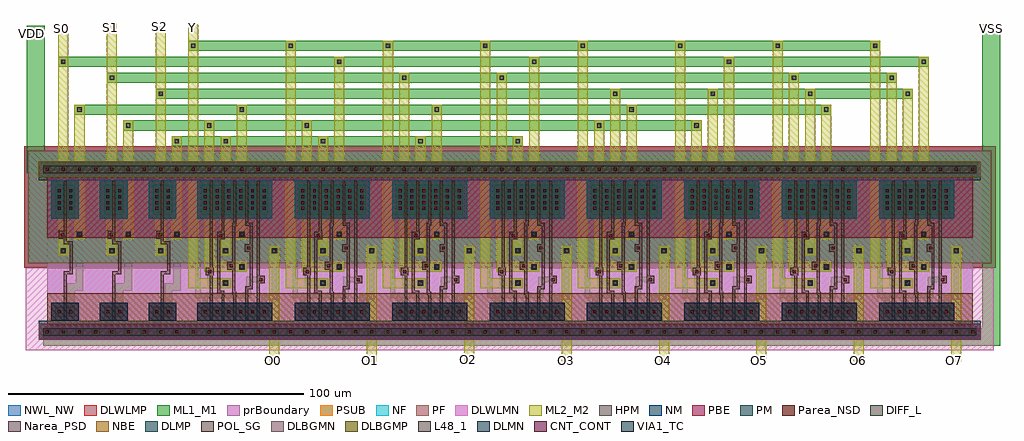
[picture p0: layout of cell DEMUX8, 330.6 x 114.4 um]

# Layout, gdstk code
import gdstk
lib = gdstk.Library(unit=1e-6, precision=1e-07)
def R(c, l, rs):  # rectangles x0, y0, x1, y1
    for r in rs: c.add(gdstk.rectangle(r[:2], r[2:], *l))
def A(c, l, x, y, w, h, nx, ny, dx, dy):  # array of equal rectangles
    R(c, l, [(x+i*dx, y+j*dy, x+i*dx+w, y+j*dy+h) for i in range(nx) for j in range(ny)])
def P(c, l, *ps):  # polygons
    for p in ps: c.add(gdstk.Polygon(p, *l))
DIFF_L = (3, 0)
NM = (7, 0)
POL_SG = (8, 0)
Narea_PSD = (9, 0)
CNT_CONT = (11, 0)
ML1_M1 = (13, 0)
VIA1_TC = (19, 0)
ML2_M2 = (20, 0)
NF = (25, 0)
PF = (26, 0)
Parea_NSD = (28, 0)
HPM = (33, 0)
PM = (35, 0)
NWL_NW = (36, 0)
L48_1 = (48, 1)
PSUB = (140, 0)
PBE = (146, 0)
NBE = (147, 0)
DLWLMP = (150, 0)
DLWLMN = (151, 0)
DLMP = (157, 0)
DLMN = (158, 0)
DLBGMP = (177, 0)
DLBGMN = (178, 0)
prBoundary = (235, 0)

and4_x1_1 = lib.new_cell('AND4_X1$1')
A(and4_x1_1, DIFF_L, -1.3, -1.3, 2.6, 2.6, 7, 2, 5.5, 55)
R(and4_x1_1, DIFF_L, [(2.8,5.1,25.4,8.5), (2.8,39.7,25.4,49.9)])
R(and4_x1_1, NM, [(-2.8,-2.7,35.8,2.7)])
P(and4_x1_1, NM, [(1.4,38.3),(1.4,51.3),(-2.8,51.3),(-2.8,57.7),(35.8,57.7),(35.8,51.3),(26.8,51.3),(26.8,38.3)])
P(and4_x1_1, POL_SG, [(5.6,3.9),(5.6,19.1),(4.3,19.1),(4.3,21.7),(5.6,21.7),(5.6,51.1),(6.6,51.1),(6.6,21.7),(6.9,21.7),(6.9,19.1),(6.6,19.1),(6.6,3.9)],
  [(9.6,3.9),(9.6,13),(8.1,13),(8.1,33.9),(9.6,33.9),(9.6,51.1),(10.6,51.1),(10.6,33.9),(10.7,33.9),(10.7,31.3),(9.1,31.3),(9.1,14),(10.6,14),(10.6,3.9)],
  [(13.6,3.9),(13.6,12.5),(13.2,12.5),(13.2,21.1),(11.6,21.1),(11.6,23.7),(13.2,23.7),(13.2,37),(13.6,37),(13.6,51.1),(14.6,51.1),(14.6,36),(14.2,36),(14.2,13.5),(14.6,13.5),(14.6,3.9)],
  [(17.6,3.9),(17.6,15.4),(19.1,15.4),(19.1,27.1),(17.5,27.1),(17.5,29.7),(19.1,29.7),(19.1,35.9),(17.6,35.9),(17.6,51.1),(18.6,51.1),(18.6,36.9),(20.1,36.9),(20.1,14.4),(18.6,14.4),(18.6,3.9)],
  [(21.6,3.9),(21.6,51.1),(22.6,51.1),(22.6,19),(24.2,19),(24.2,16.4),(22.6,16.4),(22.6,3.9)])
R(and4_x1_1, Narea_PSD, [(1.4,3.7,26.8,9.9), (-2.8,52.3,35.8,57.7)])
A(and4_x1_1, CNT_CONT, -0.5, -0.5, 1, 1, 7, 2, 5.5, 55)
A(and4_x1_1, CNT_CONT, 3.6, 41.3, 1, 1, 1, 4, 0, 2)
A(and4_x1_1, CNT_CONT, 23.6, 41.3, 1, 1, 1, 4, 0, 2)
R(and4_x1_1, CNT_CONT, [(3.6,6.3,4.6,7.3), (7.6,6.3,8.6,7.3), (7.6,6.3,8.6,7.3), (11.6,6.3,12.6,7.3), (11.6,6.3,12.6,7.3), (15.6,6.3,16.6,7.3), (15.6,6.3,16.6,7.3), (19.6,6.3,20.6,7.3), (19.6,6.3,20.6,7.3), (23.6,6.3,24.6,7.3), (22.4,17.2,23.4,18.2), (5.1,19.9,6.1,20.9), (12.4,21.9,13.4,22.9), (18.3,27.9,19.3,28.9), (8.9,32.1,9.9,33.1), (7.6,41.3,8.6,42.3), (7.6,41.3,8.6,42.3), (11.6,41.3,12.6,42.3), (11.6,41.3,12.6,42.3), (15.6,41.3,16.6,42.3), (15.6,41.3,16.6,42.3), (19.6,41.3,20.6,42.3), (19.6,41.3,20.6,42.3), (7.6,43.3,8.6,44.3), (7.6,43.3,8.6,44.3), (11.6,43.3,12.6,44.3), (11.6,43.3,12.6,44.3), (15.6,43.3,16.6,44.3), (15.6,43.3,16.6,44.3), (19.6,43.3,20.6,44.3), (19.6,43.3,20.6,44.3), (7.6,45.3,8.6,46.3), (7.6,45.3,8.6,46.3), (11.6,45.3,12.6,46.3), (11.6,45.3,12.6,46.3), (15.6,45.3,16.6,46.3), (15.6,45.3,16.6,46.3), (19.6,45.3,20.6,46.3), (19.6,45.3,20.6,46.3), (7.6,47.3,8.6,48.3), (7.6,47.3,8.6,48.3), (11.6,47.3,12.6,48.3), (11.6,47.3,12.6,48.3), (15.6,47.3,16.6,48.3), (15.6,47.3,16.6,48.3), (19.6,47.3,20.6,48.3), (19.6,47.3,20.6,48.3)])
A(and4_x1_1, ML1_M1, 6.8, 5.1, 2.6, 3.4, 3, 1, 4, 0)
P(and4_x1_1, ML1_M1, [(-1.3,-1.3),(-1.3,1.3),(18.8,1.3),(18.8,8.5),(21.4,8.5),(21.4,1.3),(34.3,1.3),(34.3,-1.3)],
  [(9.3,14.8),(9.3,15.6),(4.8,15.6),(4.8,19.1),(4.3,19.1),(4.3,21.7),(6.9,21.7),(6.9,19.1),(6.6,19.1),(6.6,17.4),(9.3,17.4),(9.3,18.2),(12.7,18.2),(12.7,14.8)],
  [(14.8,20.3),(14.8,21.1),(11.6,21.1),(11.6,23.7),(18.2,23.7),(18.2,20.3)],
  [(9.3,25.8),(9.3,31.3),(8.1,31.3),(8.1,33.9),(11.1,33.9),(11.1,29.2),(12.7,29.2),(12.7,25.8)],
  [(16.4,27.1),(16.4,31.3),(14.8,31.3),(14.8,34.7),(18.2,34.7),(18.2,29.7),(20.1,29.7),(20.1,27.1)],
  [(2.8,5.1),(2.8,8.5),(3.2,8.5),(3.2,11.4),(0.7,11.4),(0.7,38),(7.2,38),(7.2,39.7),(6.8,39.7),(6.8,49.9),(9.4,49.9),(9.4,39.7),(9,39.7),(9,38),(15.2,38),(15.2,39.7),(14.8,39.7),(14.8,49.9),(17.4,49.9),(17.4,39.7),(17,39.7),(17,36.2),(2.5,36.2),(2.5,13.2),(17.9,13.2),(17.9,18.6),(21.6,18.6),(21.6,19),(24.2,19),(24.2,16.4),(21.6,16.4),(21.6,16.8),(19.7,16.8),(19.7,11.4),(5,11.4),(5,8.5),(5.4,8.5),(5.4,5.1)],
  [(22.8,5.1),(22.8,8.5),(23.2,8.5),(23.2,12.6),(26.6,12.6),(26.6,25.8),(25.8,25.8),(25.8,29.2),(26.6,29.2),(26.6,36.2),(23.2,36.2),(23.2,39.7),(22.8,39.7),(22.8,49.9),(25.4,49.9),(25.4,39.7),(25,39.7),(25,38),(28.4,38),(28.4,29.2),(29.2,29.2),(29.2,25.8),(28.4,25.8),(28.4,10.8),(25,10.8),(25,8.5),(25.4,8.5),(25.4,5.1)],
  [(2.8,39.7),(2.8,53.7),(-1.3,53.7),(-1.3,56.3),(34.3,56.3),(34.3,53.7),(21.4,53.7),(21.4,39.7),(18.8,39.7),(18.8,53.7),(13.4,53.7),(13.4,39.7),(10.8,39.7),(10.8,53.7),(5.4,53.7),(5.4,39.7)])
R(and4_x1_1, NF, [(-6.3,23.2,39.3,61.3)])
R(and4_x1_1, PF, [(-6.3,23.2,39.3,61.3)])
R(and4_x1_1, Parea_NSD, [(-2.8,-2.7,35.8,2.7), (1.4,38.3,26.8,51.3)])
P(and4_x1_1, HPM, [(-2.8,-2.7),(-2.8,3.7),(1.4,3.7),(1.4,9.9),(26.8,9.9),(26.8,3.7),(35.8,3.7),(35.8,-2.7)],
  [(1.4,38.3),(1.4,51.3),(-2.8,51.3),(-2.8,57.7),(35.8,57.7),(35.8,51.3),(26.8,51.3),(26.8,38.3)])
R(and4_x1_1, PM, [(-2.8,52.3,35.8,57.7)])
P(and4_x1_1, PM, [(-2.8,-2.7),(-2.8,3.7),(1.4,3.7),(1.4,9.9),(26.8,9.9),(26.8,3.7),(35.8,3.7),(35.8,-2.7)])
R(and4_x1_1, NWL_NW, [(-7.8,21.7,40.8,62.8)])
R(and4_x1_1, L48_1, [(-1.3,-1.3,34.3,1.3), (10.1,15.6,11.9,17.4), (15.6,21.1,17.4,22.9), (10.1,26.6,11.9,28.4), (26.6,26.6,28.4,28.4), (15.6,32.1,17.4,33.9), (-1.3,53.7,34.3,56.3)])
R(and4_x1_1, PSUB, [(-6.3,23.2,39.3,61.3)])
R(and4_x1_1, PBE, [(0,31.9,33,52.7)])
R(and4_x1_1, NBE, [(0,2.3,33,13.1)])
R(and4_x1_1, DLWLMP, [(-7.8,21.7,40.8,62.8)])
R(and4_x1_1, DLWLMN, [(-7.2,-6.3,40.2,21.7)])
R(and4_x1_1, DLMP, [(1.4,38.3,26.8,51.3)])
R(and4_x1_1, DLMN, [(1.4,3.7,26.8,9.9)])
R(and4_x1_1, DLBGMP, [(-2.8,52.3,35.8,57.7)])
R(and4_x1_1, DLBGMN, [(-2.8,-2.7,35.8,2.7)])
R(and4_x1_1, prBoundary, [(0,0,33,55)])
and4_x1_1.add(gdstk.Label('vdd', (0,55), layer=48, texttype=0))
and4_x1_1.add(gdstk.Label('gnd', (0,0), layer=48, texttype=0))
and4_x1_1.add(gdstk.Label('Y', (27.5,27.5), layer=48, texttype=0))
and4_x1_1.add(gdstk.Label('A', (11,16.5), layer=48, texttype=0))
and4_x1_1.add(gdstk.Label('B', (11,27.5), layer=48, texttype=0))
and4_x1_1.add(gdstk.Label('C', (16.5,22), layer=48, texttype=0))
and4_x1_1.add(gdstk.Label('D', (16.5,33), layer=48, texttype=0))

via = lib.new_cell('Via')
R(via, ML1_M1, [(-1.7,-1.7,1.7,1.7)])
R(via, VIA1_TC, [(-0.7,-0.7,0.7,0.7)])
R(via, ML2_M2, [(-1.7,-1.7,1.7,1.7)])

inv_x1_1 = lib.new_cell('INV_X1$1')
A(inv_x1_1, DIFF_L, -1.3, -1.3, 2.6, 2.6, 4, 2, 5.5, 55)
R(inv_x1_1, DIFF_L, [(2.8,5.1,9.4,8.5), (2.8,39.7,9.4,49.9)])
R(inv_x1_1, NM, [(-2.8,-2.7,19.3,2.7)])
P(inv_x1_1, NM, [(1.4,38.3),(1.4,51.3),(-2.8,51.3),(-2.8,57.7),(19.3,57.7),(19.3,51.3),(10.8,51.3),(10.8,38.3)])
P(inv_x1_1, POL_SG, [(5.6,3.9),(5.6,20.5),(7.7,20.5),(7.7,29.7),(5.6,29.7),(5.6,31.6),(4,31.6),(4,34.2),(5.6,34.2),(5.6,51.1),(6.6,51.1),(6.6,30.7),(8.7,30.7),(8.7,19.5),(6.6,19.5),(6.6,3.9)])
R(inv_x1_1, Narea_PSD, [(1.4,3.7,10.8,9.9), (-2.8,52.3,19.3,57.7)])
A(inv_x1_1, CNT_CONT, -0.5, -0.5, 1, 1, 4, 2, 5.5, 55)
A(inv_x1_1, CNT_CONT, 3.6, 41.3, 1, 1, 1, 4, 0, 2)
A(inv_x1_1, CNT_CONT, 7.6, 41.3, 1, 1, 1, 4, 0, 2)
R(inv_x1_1, CNT_CONT, [(3.6,6.3,4.6,7.3), (7.6,6.3,8.6,7.3), (4.8,32.4,5.8,33.4)])
P(inv_x1_1, ML1_M1, [(-1.3,-1.3),(-1.3,1.3),(2.8,1.3),(2.8,8.5),(5.4,8.5),(5.4,1.3),(17.8,1.3),(17.8,-1.3)],
  [(3.8,25.8),(3.8,29.2),(4,29.2),(4,34.2),(6.6,34.2),(6.6,29.2),(7.2,29.2),(7.2,25.8)],
  [(6.8,5.1),(6.8,16.5),(9.7,16.5),(9.7,31.3),(9.3,31.3),(9.3,35.6),(6.8,35.6),(6.8,49.9),(9.4,49.9),(9.4,38.2),(12.3,38.2),(12.3,34.7),(12.7,34.7),(12.7,31.3),(12.3,31.3),(12.3,13.9),(9.4,13.9),(9.4,5.1)],
  [(2.8,39.7),(2.8,53.7),(-1.3,53.7),(-1.3,56.3),(17.8,56.3),(17.8,53.7),(5.4,53.7),(5.4,39.7)])
R(inv_x1_1, NF, [(-6.3,23.2,22.8,61.3)])
R(inv_x1_1, PF, [(-6.3,23.2,22.8,61.3)])
R(inv_x1_1, Parea_NSD, [(-2.8,-2.7,19.3,2.7), (1.4,38.3,10.8,51.3)])
P(inv_x1_1, HPM, [(-2.8,-2.7),(-2.8,3.7),(1.4,3.7),(1.4,9.9),(10.8,9.9),(10.8,3.7),(19.3,3.7),(19.3,-2.7)],
  [(1.4,38.3),(1.4,51.3),(-2.8,51.3),(-2.8,57.7),(19.3,57.7),(19.3,51.3),(10.8,51.3),(10.8,38.3)])
R(inv_x1_1, PM, [(-2.8,52.3,19.3,57.7)])
P(inv_x1_1, PM, [(-2.8,-2.7),(-2.8,3.7),(1.4,3.7),(1.4,9.9),(10.8,9.9),(10.8,3.7),(19.3,3.7),(19.3,-2.7)])
R(inv_x1_1, NWL_NW, [(-7.8,21.7,24.3,62.8)])
R(inv_x1_1, L48_1, [(-1.3,-1.3,17.8,1.3), (4.6,26.6,6.4,28.4), (10.1,32.1,11.9,33.9), (-1.3,53.7,17.8,56.3)])
R(inv_x1_1, PSUB, [(-6.3,23.2,22.8,61.3)])
R(inv_x1_1, PBE, [(0,31.9,16.5,52.7)])
R(inv_x1_1, NBE, [(0,2.3,16.5,13.1)])
R(inv_x1_1, DLWLMP, [(-7.8,21.7,24.3,62.8)])
R(inv_x1_1, DLWLMN, [(-7.2,-6.3,23.7,21.7)])
R(inv_x1_1, DLMP, [(1.4,38.3,10.8,51.3)])
R(inv_x1_1, DLMN, [(1.4,3.7,10.8,9.9)])
R(inv_x1_1, DLBGMP, [(-2.8,52.3,19.3,57.7)])
R(inv_x1_1, DLBGMN, [(-2.8,-2.7,19.3,2.7)])
R(inv_x1_1, prBoundary, [(0,0,16.5,55)])
inv_x1_1.add(gdstk.Label('A', (5.5,27.5), layer=48, texttype=0))
inv_x1_1.add(gdstk.Label('vdd', (0,55), layer=48, texttype=0))
inv_x1_1.add(gdstk.Label('gnd', (0,0), layer=48, texttype=0))
inv_x1_1.add(gdstk.Label('Y', (11,33), layer=48, texttype=0))

demux8 = lib.new_cell('DEMUX8')
demux8.add(gdstk.FlexPath([(25.9,69.9),(221.7,69.9)], 3.4, ends="flush", simple_path=True, layer=13, datatype=0))  # ML1_M1
demux8.add(gdstk.FlexPath([(20.3,86.1),(287.8,86.1)], 3.4, ends="flush", simple_path=True, layer=13, datatype=0))  # ML1_M1
demux8.add(gdstk.FlexPath([(36.9,80.7),(293.2,80.7)], 3.4, ends="flush", simple_path=True, layer=13, datatype=0))  # ML1_M1
demux8.add(gdstk.FlexPath([(161.2,64.5),(42.3,64.5)], 3.4, ends="flush", simple_path=True, layer=13, datatype=0))  # ML1_M1
demux8.add(gdstk.FlexPath([(47.8,96.9),(282.2,96.9)], 3.4, ends="flush", simple_path=True, layer=13, datatype=0))  # ML1_M1
demux8.add(gdstk.FlexPath([(319.8,104.1),(319.8,-4.7)], 6, ends="flush", simple_path=True, layer=13, datatype=0))  # ML1_M1
demux8.add(gdstk.FlexPath([(9.3,75.3),(265.7,75.3)], 3.4, ends="flush", simple_path=True, layer=13, datatype=0))  # ML1_M1
demux8.add(gdstk.FlexPath([(3.8,91.5),(298.7,91.5)], 3.4, ends="flush", simple_path=True, layer=13, datatype=0))  # ML1_M1
demux8.add(gdstk.FlexPath([(-1.3,56.7),(314.8,56.7)], 6, ends="flush", simple_path=True, layer=13, datatype=0))  # ML1_M1
demux8.add(gdstk.FlexPath([(322.7,-1.7),(-1.3,-1.7)], 6, ends="flush", simple_path=True, layer=13, datatype=0))  # ML1_M1
demux8.add(gdstk.FlexPath([(-3.8,103.7),(-3.8,53.7)], 6, ends="flush", simple_path=True, layer=13, datatype=0))  # ML1_M1
demux8.add(gdstk.FlexPath([(22,25.8),(22,104.4)], 3.4, ends="flush", simple_path=True, layer=20, datatype=0))  # ML2_M2
demux8.add(gdstk.FlexPath([(27.5,31.3),(27.5,71.6)], 3.4, ends="flush", simple_path=True, layer=20, datatype=0))  # ML2_M2
demux8.add(gdstk.FlexPath([(38.5,25.8),(38.5,104.4)], 3.4, ends="flush", simple_path=True, layer=20, datatype=0))  # ML2_M2
demux8.add(gdstk.FlexPath([(44,31.3),(44,66.2)], 3.4, ends="flush", simple_path=True, layer=20, datatype=0))  # ML2_M2
demux8.add(gdstk.FlexPath([(62.2,16.5),(49.5,16.5),(49.5,104.1)], 3.4, ends="flush", simple_path=True, layer=20, datatype=0))  # ML2_M2
demux8.add(gdstk.FlexPath([(77,29.2),(77,-10)], 3.4, ends="flush", simple_path=True, layer=20, datatype=0))  # ML2_M2
demux8.add(gdstk.FlexPath([(66,31.3),(66,77)], 3.4, ends="flush", simple_path=True, layer=20, datatype=0))  # ML2_M2
demux8.add(gdstk.FlexPath([(67.7,22),(55,22),(55,71.6)], 3.4, ends="flush", simple_path=True, layer=20, datatype=0))  # ML2_M2
demux8.add(gdstk.FlexPath([(60.5,25.8),(60.5,66.2)], 3.4, ends="flush", simple_path=True, layer=20, datatype=0))  # ML2_M2
demux8.add(gdstk.FlexPath([(95.2,16.5),(82.5,16.5),(82.5,98.6)], 3.4, ends="flush", simple_path=True, layer=20, datatype=0))  # ML2_M2
demux8.add(gdstk.FlexPath([(110,29.2),(110,-10)], 3.4, ends="flush", simple_path=True, layer=20, datatype=0))  # ML2_M2
demux8.add(gdstk.FlexPath([(100.7,22),(88,22),(88,71.6)], 3.4, ends="flush", simple_path=True, layer=20, datatype=0))  # ML2_M2
demux8.add(gdstk.FlexPath([(93.5,25.8),(93.5,66.2)], 3.4, ends="flush", simple_path=True, layer=20, datatype=0))  # ML2_M2
demux8.add(gdstk.FlexPath([(99,31.3),(99,93.2)], 3.4, ends="flush", simple_path=True, layer=20, datatype=0))  # ML2_M2
demux8.add(gdstk.FlexPath([(128.2,16.5),(115.5,16.5),(115.5,98.6)], 3.4, ends="flush", simple_path=True, layer=20, datatype=0))  # ML2_M2
demux8.add(gdstk.FlexPath([(143,29.2),(143,-10)], 3.4, ends="flush", simple_path=True, layer=20, datatype=0))  # ML2_M2
demux8.add(gdstk.FlexPath([(133.7,22),(121,22),(121,87.8)], 3.4, ends="flush", simple_path=True, layer=20, datatype=0))  # ML2_M2
demux8.add(gdstk.FlexPath([(126.5,25.8),(126.5,66.2)], 3.4, ends="flush", simple_path=True, layer=20, datatype=0))  # ML2_M2
demux8.add(gdstk.FlexPath([(132,31.3),(132,77)], 3.4, ends="flush", simple_path=True, layer=20, datatype=0))  # ML2_M2
demux8.add(gdstk.FlexPath([(161.2,16.5),(148.5,16.5),(148.5,98.6)], 3.4, ends="flush", simple_path=True, layer=20, datatype=0))  # ML2_M2
demux8.add(gdstk.FlexPath([(176,29.2),(176,-10)], 3.4, ends="flush", simple_path=True, layer=20, datatype=0))  # ML2_M2
demux8.add(gdstk.FlexPath([(166.7,22),(154,22),(154,87.8)], 3.4, ends="flush", simple_path=True, layer=20, datatype=0))  # ML2_M2
demux8.add(gdstk.FlexPath([(159.5,25.8),(159.5,66.2)], 3.4, ends="flush", simple_path=True, layer=20, datatype=0))  # ML2_M2
demux8.add(gdstk.FlexPath([(165,31.3),(165,93.2)], 3.4, ends="flush", simple_path=True, layer=20, datatype=0))  # ML2_M2
demux8.add(gdstk.FlexPath([(199.7,22),(187,22),(187,71.6)], 3.4, ends="flush", simple_path=True, layer=20, datatype=0))  # ML2_M2
demux8.add(gdstk.FlexPath([(192.5,25.8),(192.5,82.4)], 3.4, ends="flush", simple_path=True, layer=20, datatype=0))  # ML2_M2
demux8.add(gdstk.FlexPath([(198,31.3),(198,77)], 3.4, ends="flush", simple_path=True, layer=20, datatype=0))  # ML2_M2
demux8.add(gdstk.FlexPath([(194.2,16.5),(181.5,16.5),(181.5,98.6)], 3.4, ends="flush", simple_path=True, layer=20, datatype=0))  # ML2_M2
demux8.add(gdstk.FlexPath([(209,29.2),(209,-10)], 3.4, ends="flush", simple_path=True, layer=20, datatype=0))  # ML2_M2
demux8.add(gdstk.FlexPath([(232.7,22),(220,22),(220,71.6)], 3.4, ends="flush", simple_path=True, layer=20, datatype=0))  # ML2_M2
demux8.add(gdstk.FlexPath([(225.5,25.8),(225.5,82.4)], 3.4, ends="flush", simple_path=True, layer=20, datatype=0))  # ML2_M2
demux8.add(gdstk.FlexPath([(231,31.3),(231,93.2)], 3.4, ends="flush", simple_path=True, layer=20, datatype=0))  # ML2_M2
demux8.add(gdstk.FlexPath([(227.2,16.5),(214.5,16.5),(214.5,98.6)], 3.4, ends="flush", simple_path=True, layer=20, datatype=0))  # ML2_M2
demux8.add(gdstk.FlexPath([(242,29.2),(242,-10)], 3.4, ends="flush", simple_path=True, layer=20, datatype=0))  # ML2_M2
demux8.add(gdstk.FlexPath([(265.7,22),(253,22),(253,87.8)], 3.4, ends="flush", simple_path=True, layer=20, datatype=0))  # ML2_M2
demux8.add(gdstk.FlexPath([(258.5,25.8),(258.5,82.4)], 3.4, ends="flush", simple_path=True, layer=20, datatype=0))  # ML2_M2
demux8.add(gdstk.FlexPath([(264,31.3),(264,77)], 3.4, ends="flush", simple_path=True, layer=20, datatype=0))  # ML2_M2
demux8.add(gdstk.FlexPath([(260.2,16.5),(247.5,16.5),(247.5,98.6)], 3.4, ends="flush", simple_path=True, layer=20, datatype=0))  # ML2_M2
demux8.add(gdstk.FlexPath([(275,29.2),(275,-10)], 3.4, ends="flush", simple_path=True, layer=20, datatype=0))  # ML2_M2
demux8.add(gdstk.FlexPath([(298.8,22),(286.1,22),(286.1,87.8)], 3.4, ends="flush", simple_path=True, layer=20, datatype=0))  # ML2_M2
demux8.add(gdstk.FlexPath([(291.5,25.8),(291.5,82.4)], 3.4, ends="flush", simple_path=True, layer=20, datatype=0))  # ML2_M2
demux8.add(gdstk.FlexPath([(297,31.3),(297,93.2)], 3.4, ends="flush", simple_path=True, layer=20, datatype=0))  # ML2_M2
demux8.add(gdstk.FlexPath([(293.2,16.5),(280.5,16.5),(280.5,98.6)], 3.4, ends="flush", simple_path=True, layer=20, datatype=0))  # ML2_M2
demux8.add(gdstk.FlexPath([(308,29.2),(308,-10)], 3.4, ends="flush", simple_path=True, layer=20, datatype=0))  # ML2_M2
demux8.add(gdstk.FlexPath([(5.5,25.8),(5.5,103.6)], 3.4, ends="flush", simple_path=True, layer=20, datatype=0))  # ML2_M2
demux8.add(gdstk.FlexPath([(11,31.3),(11,77)], 3.4, ends="flush", simple_path=True, layer=20, datatype=0))  # ML2_M2
demux8.add(gdstk.Reference(and4_x1_1, (148.5,0)))
demux8.add(gdstk.Reference(via, (247.5,96.9)))
demux8.add(gdstk.Reference(and4_x1_1, (247.5,0)))
demux8.add(gdstk.Reference(and4_x1_1, (280.5,0)))
demux8.add(gdstk.Reference(via, (214.5,96.9)))
demux8.add(gdstk.Reference(and4_x1_1, (181.5,0)))
demux8.add(gdstk.Reference(and4_x1_1, (214.5,0)))
demux8.add(gdstk.Reference(via, (192.5,16.5)))
demux8.add(gdstk.Reference(via, (198,22)))
demux8.add(gdstk.Reference(via, (181.5,96.9)))
demux8.add(gdstk.Reference(via, (192.5,27.5)))
demux8.add(gdstk.Reference(via, (198,33)))
demux8.add(gdstk.Reference(via, (209,27.5)))
demux8.add(gdstk.Reference(via, (225.5,27.5)))
demux8.add(gdstk.Reference(via, (231,33)))
demux8.add(gdstk.Reference(via, (242,27.5)))
demux8.add(gdstk.Reference(via, (231,22)))
demux8.add(gdstk.Reference(via, (225.5,16.5)))
demux8.add(gdstk.Reference(via, (258.5,27.5)))
demux8.add(gdstk.Reference(via, (264,33)))
demux8.add(gdstk.Reference(via, (275,27.5)))
demux8.add(gdstk.Reference(via, (264,22)))
demux8.add(gdstk.Reference(via, (258.5,16.5)))
demux8.add(gdstk.Reference(via, (291.5,16.5)))
demux8.add(gdstk.Reference(via, (297,22)))
demux8.add(gdstk.Reference(via, (291.5,27.5)))
demux8.add(gdstk.Reference(via, (297,33)))
demux8.add(gdstk.Reference(via, (308,27.5)))
demux8.add(gdstk.Reference(via, (198,75.3)))
demux8.add(gdstk.Reference(via, (187,69.9)))
demux8.add(gdstk.Reference(via, (192.5,80.7)))
demux8.add(gdstk.Reference(via, (148.5,96.9)))
demux8.add(gdstk.Reference(via, (231,91.5)))
demux8.add(gdstk.Reference(via, (220,69.9)))
demux8.add(gdstk.Reference(via, (225.5,80.7)))
demux8.add(gdstk.Reference(via, (264,75.3)))
demux8.add(gdstk.Reference(via, (258.5,80.7)))
demux8.add(gdstk.Reference(via, (291.5,80.7)))
demux8.add(gdstk.Reference(via, (253,86.1)))
demux8.add(gdstk.Reference(via, (286.1,86.1)))
demux8.add(gdstk.Reference(via, (297,91.5)))
demux8.add(gdstk.Reference(via, (159.5,16.5)))
demux8.add(gdstk.Reference(via, (159.5,27.5)))
demux8.add(gdstk.Reference(via, (165,22)))
demux8.add(gdstk.Reference(via, (165,33)))
demux8.add(gdstk.Reference(via, (176,27.5)))
demux8.add(gdstk.Reference(via, (165,91.5)))
demux8.add(gdstk.Reference(via, (154,86.1)))
demux8.add(gdstk.Reference(via, (159.5,64.5)))
demux8.add(gdstk.Reference(via, (280.5,96.9)))
demux8.add(gdstk.Reference(via, (93.5,16.5)))
demux8.add(gdstk.Reference(via, (99,22)))
demux8.add(gdstk.Reference(via, (93.5,27.5)))
demux8.add(gdstk.Reference(via, (99,33)))
demux8.add(gdstk.Reference(via, (110,27.5)))
demux8.add(gdstk.Reference(via, (126.5,27.5)))
demux8.add(gdstk.Reference(via, (132,33)))
demux8.add(gdstk.Reference(via, (132,22)))
demux8.add(gdstk.Reference(via, (126.5,16.5)))
demux8.add(gdstk.Reference(via, (143,27.5)))
demux8.add(gdstk.Reference(via, (49.5,96.9)))
demux8.add(gdstk.Reference(via, (115.5,96.9)))
demux8.add(gdstk.Reference(via, (82.5,96.9)))
demux8.add(gdstk.Reference(via, (44,33)))
demux8.add(gdstk.Reference(via, (60.5,16.5)))
demux8.add(gdstk.Reference(via, (5.5,91.5)))
demux8.add(gdstk.Reference(via, (11,75.3)))
demux8.add(gdstk.Reference(via, (27.5,69.9)))
demux8.add(gdstk.Reference(via, (44,64.5)))
demux8.add(gdstk.Reference(via, (38.5,80.7)))
demux8.add(gdstk.Reference(via, (22,86.1)))
demux8.add(gdstk.Reference(via, (66,75.3)))
demux8.add(gdstk.Reference(via, (55,69.9)))
demux8.add(gdstk.Reference(via, (60.5,64.5)))
demux8.add(gdstk.Reference(via, (99,91.5)))
demux8.add(gdstk.Reference(via, (88,69.9)))
demux8.add(gdstk.Reference(via, (93.5,64.5)))
demux8.add(gdstk.Reference(via, (132,75.3)))
demux8.add(gdstk.Reference(via, (126.5,64.5)))
demux8.add(gdstk.Reference(via, (121,86.1)))
demux8.add(gdstk.Reference(via, (60.5,27.5)))
demux8.add(gdstk.Reference(via, (66,22)))
demux8.add(gdstk.Reference(via, (66,33)))
demux8.add(gdstk.Reference(inv_x1_1, (16.5,0)))
demux8.add(gdstk.Reference(and4_x1_1, (49.5,0)))
demux8.add(gdstk.Reference(and4_x1_1, (82.5,0)))
demux8.add(gdstk.Reference(and4_x1_1, (115.5,0)))
demux8.add(gdstk.Reference(via, (77,27.5)))
demux8.add(gdstk.Reference(inv_x1_1, (0,0)))
demux8.add(gdstk.Reference(inv_x1_1, (33,0)))
demux8.add(gdstk.Reference(via, (5.5,27.5)))
demux8.add(gdstk.Reference(via, (11,33)))
demux8.add(gdstk.Reference(via, (22,27.5)))
demux8.add(gdstk.Reference(via, (27.5,33)))
demux8.add(gdstk.Reference(via, (38.5,27.5)))
demux8.add(gdstk.Label('VSS', (319.9,102.8), layer=13, texttype=0))
demux8.add(gdstk.Label('VDD', (-5.3,100.9), layer=13, texttype=0))
demux8.add(gdstk.Label('S1', (21.5,103), layer=20, texttype=0))
demux8.add(gdstk.Label('S2', (38.2,103.3), layer=20, texttype=0))
demux8.add(gdstk.Label('Y', (49.2,103.1), layer=20, texttype=0))
demux8.add(gdstk.Label('O0', (76.6,-9.6), layer=20, texttype=0))
demux8.add(gdstk.Label('O1', (109.5,-9.6), layer=20, texttype=0))
demux8.add(gdstk.Label('O2', (142.8,-9.5), layer=20, texttype=0))
demux8.add(gdstk.Label('O3', (175.8,-9.6), layer=20, texttype=0))
demux8.add(gdstk.Label('O4', (208.9,-9.7), layer=20, texttype=0))
demux8.add(gdstk.Label('O5', (241.5,-9.7), layer=20, texttype=0))
demux8.add(gdstk.Label('O6', (274.8,-9.7), layer=20, texttype=0))
demux8.add(gdstk.Label('O7', (307.5,-9.7), layer=20, texttype=0))
demux8.add(gdstk.Label('S0', (4.9,102.7), layer=20, texttype=0))

lib.write_gds('DEMUX8.gds')
